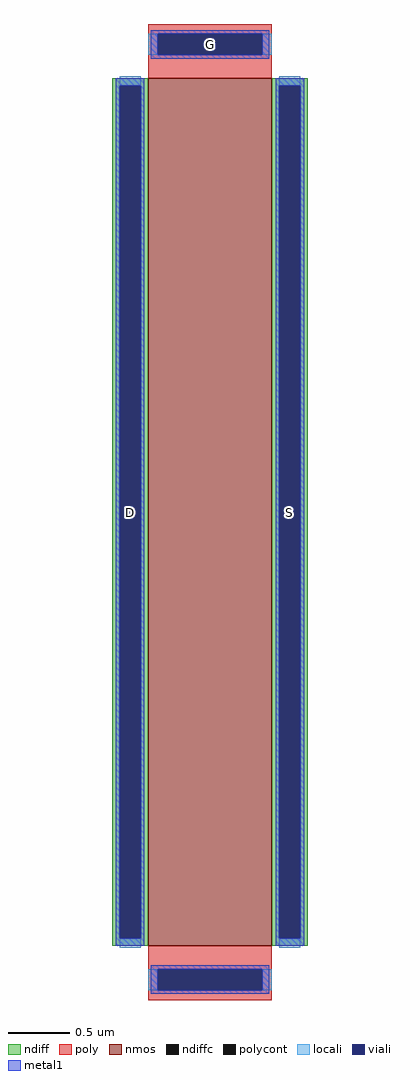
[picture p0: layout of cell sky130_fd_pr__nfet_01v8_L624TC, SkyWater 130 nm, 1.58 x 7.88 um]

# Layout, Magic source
magic
tech sky130A
magscale 1 2
<< nmos >>
rect -100 -700 100 700
<< ndiff >>
rect -158 688 -100 700
rect -158 -688 -146 688
rect -112 -688 -100 688
rect -158 -700 -100 -688
rect 100 688 158 700
rect 100 -688 112 688
rect 146 -688 158 688
rect 100 -700 158 -688
<< ndiffc >>
rect -146 -688 -112 688
rect 112 -688 146 688
<< poly >>
rect -100 772 100 788
rect -100 738 -84 772
rect 84 738 100 772
rect -100 700 100 738
rect -100 -738 100 -700
rect -100 -772 -84 -738
rect 84 -772 100 -738
rect -100 -788 100 -772
<< polycont >>
rect -84 738 84 772
rect -84 -772 84 -738
<< locali >>
rect -100 738 -84 772
rect 84 738 100 772
rect -146 688 -112 704
rect -146 -704 -112 -688
rect 112 688 146 704
rect 112 -704 146 -688
rect -100 -772 -84 -738
rect 84 -772 100 -738
<< viali >>
rect -84 738 84 772
rect -146 -688 -112 688
rect 112 -688 146 688
rect -84 -772 84 -738
<< metal1 >>
rect -96 772 96 778
rect -96 738 -84 772
rect 84 738 96 772
rect -96 732 96 738
rect -152 688 -106 700
rect -152 -688 -146 688
rect -112 -688 -106 688
rect -152 -700 -106 -688
rect 106 688 152 700
rect 106 -688 112 688
rect 146 -688 152 688
rect 106 -700 152 -688
rect -96 -738 96 -732
rect -96 -772 -84 -738
rect 84 -772 96 -738
rect -96 -778 96 -772
<< labels >>
rlabel ndiffc -129 0 -129 0 0 D
port 1 nsew
rlabel ndiffc 129 0 129 0 0 S
port 2 nsew
rlabel polycont 0 755 0 755 0 G
port 3 nsew
<< properties >>
string gencell sky130_fd_pr__nfet_01v8
string library sky130
string parameters w 7 l 1 m 1 nf 1 diffcov 100 polycov 100 guard 0 glc 1 grc 1 gtc 1 gbc 1 tbcov 100 rlcov 100 topc 1 botc 1 poverlap 0 doverlap 1 lmin 0.15 wmin 0.42 class mosfet compatible {sky130_fd_pr__nfet_01v8 sky130_fd_pr__nfet_01v8_lvt  sky130_fd_bs_flash__special_sonosfet_star  sky130_fd_pr__nfet_g5v0d10v5 sky130_fd_pr__nfet_05v0_nvt  sky130_fd_pr__nfet_03v3_nvt} full_metal 1 conn_gates 0 viasrc 100 viadrn 100 viagate 100 viagb 0 viagr 0 viagl 0 viagt 0 doports 1
<< end >>
